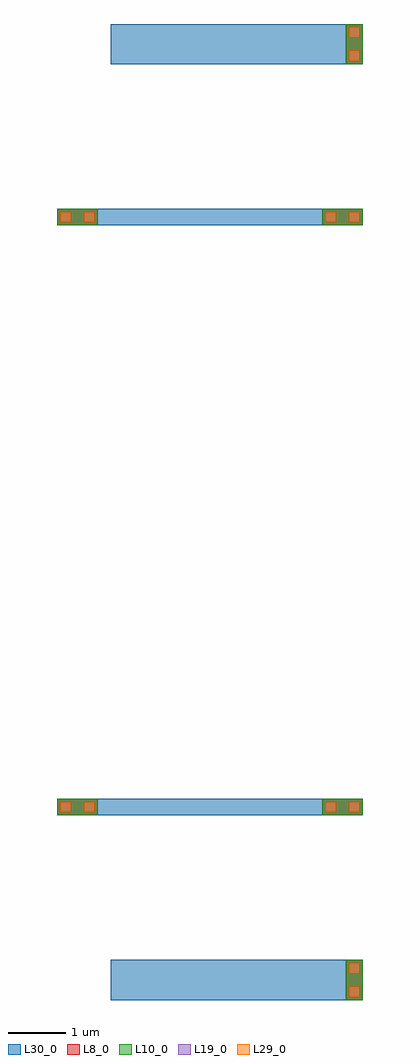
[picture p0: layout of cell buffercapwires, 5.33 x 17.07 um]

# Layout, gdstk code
import gdstk
lib = gdstk.Library(unit=1e-6, precision=1e-09)
def R(c, l, rs):  # rectangles x0, y0, x1, y1
    for r in rs: c.add(gdstk.rectangle(r[:2], r[2:], *l))
L8_0 = (8, 0)
L10_0 = (10, 0)
L19_0 = (19, 0)
L29_0 = (29, 0)
L30_0 = (30, 0)

via_stack_11 = lib.new_cell('via_stack$11')
R(via_stack_11, L8_0, [(-0.145,-0.35,0.145,0.35)])
R(via_stack_11, L10_0, [(-0.145,-0.35,0.145,0.35)])
R(via_stack_11, L19_0, [(-0.095,-0.3,0.095,-0.11), (-0.095,0.11,0.095,0.3)])
R(via_stack_11, L29_0, [(-0.095,-0.3,0.095,-0.11), (-0.095,0.11,0.095,0.3)])
R(via_stack_11, L30_0, [(-0.145,-0.35,0.145,0.35)])

via_stack_10 = lib.new_cell('via_stack$10')
R(via_stack_10, L8_0, [(-0.35,-0.145,0.35,0.145)])
R(via_stack_10, L10_0, [(-0.35,-0.145,0.35,0.145)])
R(via_stack_10, L19_0, [(-0.3,-0.095,-0.11,0.095), (0.11,-0.095,0.3,0.095)])
R(via_stack_10, L29_0, [(-0.3,-0.095,-0.11,0.095), (0.11,-0.095,0.3,0.095)])
R(via_stack_10, L30_0, [(-0.35,-0.145,0.35,0.145)])

buffercapwires = lib.new_cell('buffercapwires')
buffercapwires.add(gdstk.FlexPath([(0,0.35),(4.405,0.35)], 0.7, ends="flush", simple_path=True, layer=30, datatype=0))  # L30_0
buffercapwires.add(gdstk.FlexPath([(0,16.72),(4.405,16.72)], 0.7, ends="flush", simple_path=True, layer=30, datatype=0))  # L30_0
buffercapwires.add(gdstk.FlexPath([(4.405,3.375),(-0.93,3.375),(-0.93,3.375)], 0.29, ends="flush", simple_path=True, layer=30, datatype=0))  # L30_0
buffercapwires.add(gdstk.FlexPath([(4.405,13.695),(-0.93,13.695),(-0.93,13.695)], 0.29, ends="flush", simple_path=True, layer=30, datatype=0))  # L30_0
buffercapwires.add(gdstk.Reference(via_stack_11, (4.26,0.35)))
buffercapwires.add(gdstk.Reference(via_stack_11, (4.26,16.72)))
buffercapwires.add(gdstk.Reference(via_stack_10, (4.055,3.375)))
buffercapwires.add(gdstk.Reference(via_stack_10, (-0.58,3.375)))
buffercapwires.add(gdstk.Reference(via_stack_10, (4.055,13.695)))
buffercapwires.add(gdstk.Reference(via_stack_10, (-0.58,13.695)))

lib.write_gds('buffercapwires.gds')
